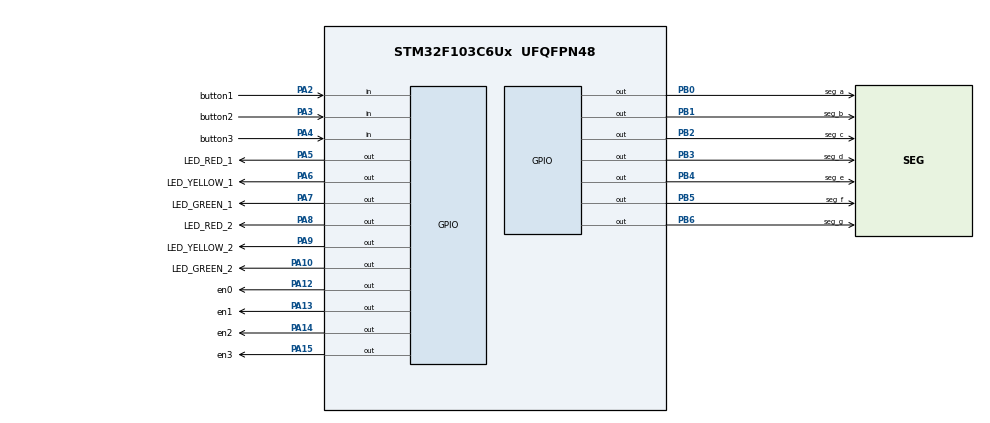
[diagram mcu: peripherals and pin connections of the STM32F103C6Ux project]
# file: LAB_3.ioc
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Mcu.Family=STM32F1
Mcu.Name=STM32F103C6Ux
Mcu.Package=UFQFPN48
NVIC.PriorityGroup=NVIC_PRIORITYGROUP_4
NVIC.TIM2_IRQn=true\:0\:0\:false\:false\:true\:true\:true\:true
PA10.GPIO_Label=LED_GREEN_2
PA10.Signal=GPIO_Output
PA12.GPIO_Label=en0
PA12.Signal=GPIO_Output
PA13.GPIO_Label=en1
PA13.Signal=GPIO_Output
PA14.GPIO_Label=en2
PA14.Signal=GPIO_Output
PA15.GPIO_Label=en3
PA15.Signal=GPIO_Output
PA2.GPIO_Label=button1
PA2.GPIO_PuPd=GPIO_PULLUP
PA2.Signal=GPIO_Input
PA3.GPIO_Label=button2
PA3.GPIO_PuPd=GPIO_PULLUP
PA3.Signal=GPIO_Input
PA4.GPIO_Label=button3
PA4.GPIO_PuPd=GPIO_PULLUP
PA4.Signal=GPIO_Input
PA5.GPIO_Label=LED_RED_1
PA5.Signal=GPIO_Output
PA6.GPIO_Label=LED_YELLOW_1
PA6.Signal=GPIO_Output
PA7.GPIO_Label=LED_GREEN_1
PA7.Signal=GPIO_Output
PA8.GPIO_Label=LED_RED_2
PA8.Signal=GPIO_Output
PA9.GPIO_Label=LED_YELLOW_2
PA9.Signal=GPIO_Output
PB0.GPIO_Label=seg_a
PB0.Signal=GPIO_Output
PB1.GPIO_Label=seg_b
PB1.Signal=GPIO_Output
PB2.GPIO_Label=seg_c
PB2.Signal=GPIO_Output
PB3.GPIO_Label=seg_d
PB3.Signal=GPIO_Output
PB4.GPIO_Label=seg_e
PB4.Signal=GPIO_Output
PB5.GPIO_Label=seg_f
PB5.Signal=GPIO_Output
PB6.GPIO_Label=seg_g
PB6.Signal=GPIO_Output
ProjectManager.HeapSize=0x200
ProjectManager.StackSize=0x400
ProjectManager.TargetToolchain=STM32CubeIDE
RCC.APB1Freq_Value=8000000
RCC.APB2Freq_Value=8000000
TIM2.Period=9
TIM2.Prescaler=7999
VP_SYS_VS_ND.Mode=No_Debug
VP_TIM2_VS_ClockSourceINT.Mode=Internal
board=custom

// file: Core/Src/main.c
/* USER CODE BEGIN Header */
/**
  ******************************************************************************
  * @file           : main.c
  * @course			: MPU - MCU
  * @lab number		: 3
  * @exercises		: 1 to 10
  * @brief          : Traffic light with 4 modes - FSM
  ******************************************************************************
  * @attention
  *
  * Copyright (c) 2025 STMicroelectronics.
  * All rights reserved.
  *
  * This software is licensed under terms that can be found in the LICENSE file
  * in the root directory of this software component.
  * If no LICENSE file comes with this software, it is provided AS-IS.
  *
  ******************************************************************************
  */
/* USER CODE END Header */
#include "main.h"

/* USER CODE BEGIN Includes */
#include "timer.h"
#include "button.h"
#include "global.h"
#include "fsm.h"

/* USER CODE END Includes */

TIM_HandleTypeDef htim2;

void SystemClock_Config(void);
static void MX_GPIO_Init(void);
static void MX_TIM2_Init(void);

int main(void)
{

  /* MCU Configuration--------------------------------------------------------*/

  /* Reset of all peripherals, Initializes the Flash interface and the Systick. */
  HAL_Init();

  /* Configure the system clock */
  SystemClock_Config();

  /* Initialize all configured peripherals */
  MX_GPIO_Init();
  MX_TIM2_Init();
  /* USER CODE BEGIN 2 */
  HAL_TIM_Base_Start_IT(&htim2);

  state = INIT;

  HAL_GPIO_WritePin(en0_GPIO_Port, en0_Pin, 1);
  HAL_GPIO_WritePin(en1_GPIO_Port, en1_Pin, 1);
  HAL_GPIO_WritePin(en2_GPIO_Port, en2_Pin, 1);
  HAL_GPIO_WritePin(en3_GPIO_Port, en3_Pin, 1);

  setTimer1(100);
  setTimer2(100);
  setTimer3(100);
  /* USER CODE END 2 */

  /* Infinite loop */
  /* USER CODE BEGIN WHILE */

  while (1)
  {
	  fsmRun();

    /* USER CODE END WHILE */

  }
}

void SystemClock_Config(void)
{
  RCC_OscInitTypeDef RCC_OscInitStruct = {0};
  RCC_ClkInitTypeDef RCC_ClkInitStruct = {0};

  /** Initializes the RCC Oscillators according to the specified parameters
  * in the RCC_OscInitTypeDef structure.
  */
  RCC_OscInitStruct.OscillatorType = RCC_OSCILLATORTYPE_HSI;
  RCC_OscInitStruct.HSIState = RCC_HSI_ON;
  RCC_OscInitStruct.HSICalibrationValue = RCC_HSICALIBRATION_DEFAULT;
  RCC_OscInitStruct.PLL.PLLState = RCC_PLL_NONE;
  if (HAL_RCC_OscConfig(&RCC_OscInitStruct) != HAL_OK)
  {
    Error_Handler();
  }

  /** Initializes the CPU, AHB and APB buses clocks
  */
  RCC_ClkInitStruct.ClockType = RCC_CLOCKTYPE_HCLK|RCC_CLOCKTYPE_SYSCLK
                              |RCC_CLOCKTYPE_PCLK1|RCC_CLOCKTYPE_PCLK2;
  RCC_ClkInitStruct.SYSCLKSource = RCC_SYSCLKSOURCE_HSI;
  RCC_ClkInitStruct.AHBCLKDivider = RCC_SYSCLK_DIV1;
  RCC_ClkInitStruct.APB1CLKDivider = RCC_HCLK_DIV1;
  RCC_ClkInitStruct.APB2CLKDivider = RCC_HCLK_DIV1;

  if (HAL_RCC_ClockConfig(&RCC_ClkInitStruct, FLASH_LATENCY_0) != HAL_OK)
  {
    Error_Handler();
  }
}

static void MX_TIM2_Init(void)
{

  TIM_ClockConfigTypeDef sClockSourceConfig = {0};
  TIM_MasterConfigTypeDef sMasterConfig = {0};

  htim2.Instance = TIM2;
  htim2.Init.Prescaler = 7999;
  htim2.Init.CounterMode = TIM_COUNTERMODE_UP;
  htim2.Init.Period = 9;
  htim2.Init.ClockDivision = TIM_CLOCKDIVISION_DIV1;
  htim2.Init.AutoReloadPreload = TIM_AUTORELOAD_PRELOAD_DISABLE;
  if (HAL_TIM_Base_Init(&htim2) != HAL_OK)
  {
    Error_Handler();
  }
  sClockSourceConfig.ClockSource = TIM_CLOCKSOURCE_INTERNAL;
  if (HAL_TIM_ConfigClockSource(&htim2, &sClockSourceConfig) != HAL_OK)
  {
    Error_Handler();
  }
  sMasterConfig.MasterOutputTrigger = TIM_TRGO_RESET;
  sMasterConfig.MasterSlaveMode = TIM_MASTERSLAVEMODE_DISABLE;
  if (HAL_TIMEx_MasterConfigSynchronization(&htim2, &sMasterConfig) != HAL_OK)
  {
    Error_Handler();
  }

}

static void MX_GPIO_Init(void)
{
  GPIO_InitTypeDef GPIO_InitStruct = {0};

  /* GPIO Ports Clock Enable */
  __HAL_RCC_GPIOA_CLK_ENABLE();
  __HAL_RCC_GPIOB_CLK_ENABLE();

  /*Configure GPIO pin Output Level */
  HAL_GPIO_WritePin(GPIOA, LED_RED_1_Pin|LED_YELLOW_1_Pin|LED_GREEN_1_Pin|LED_RED_2_Pin
                          |LED_YELLOW_2_Pin|LED_GREEN_2_Pin|en0_Pin|en1_Pin
                          |en2_Pin|en3_Pin, GPIO_PIN_RESET);

  /*Configure GPIO pin Output Level */
  HAL_GPIO_WritePin(GPIOB, seg_a_Pin|seg_b_Pin|seg_c_Pin|seg_d_Pin
                          |seg_e_Pin|seg_f_Pin|seg_g_Pin, GPIO_PIN_RESET);

  /*Configure GPIO pins : button1_Pin button2_Pin button3_Pin */
  GPIO_InitStruct.Pin = button1_Pin|button2_Pin|button3_Pin;
  GPIO_InitStruct.Mode = GPIO_MODE_INPUT;
  GPIO_InitStruct.Pull = GPIO_PULLUP;
  HAL_GPIO_Init(GPIOA, &GPIO_InitStruct);

  /*Configure GPIO pins : LED_RED_1_Pin LED_YELLOW_1_Pin LED_GREEN_1_Pin LED_RED_2_Pin
                           LED_YELLOW_2_Pin LED_GREEN_2_Pin en0_Pin en1_Pin
                           en2_Pin en3_Pin */
  GPIO_InitStruct.Pin = LED_RED_1_Pin|LED_YELLOW_1_Pin|LED_GREEN_1_Pin|LED_RED_2_Pin
                          |LED_YELLOW_2_Pin|LED_GREEN_2_Pin|en0_Pin|en1_Pin
                          |en2_Pin|en3_Pin;
  GPIO_InitStruct.Mode = GPIO_MODE_OUTPUT_PP;
  GPIO_InitStruct.Pull = GPIO_NOPULL;
  GPIO_InitStruct.Speed = GPIO_SPEED_FREQ_LOW;
  HAL_GPIO_Init(GPIOA, &GPIO_InitStruct);

  /*Configure GPIO pins : seg_a_Pin seg_b_Pin seg_c_Pin seg_d_Pin
                           seg_e_Pin seg_f_Pin seg_g_Pin */
  GPIO_InitStruct.Pin = seg_a_Pin|seg_b_Pin|seg_c_Pin|seg_d_Pin
                          |seg_e_Pin|seg_f_Pin|seg_g_Pin;
  GPIO_InitStruct.Mode = GPIO_MODE_OUTPUT_PP;
  GPIO_InitStruct.Pull = GPIO_NOPULL;
  GPIO_InitStruct.Speed = GPIO_SPEED_FREQ_LOW;
  HAL_GPIO_Init(GPIOB, &GPIO_InitStruct);

}

/* USER CODE BEGIN 4 */
void HAL_TIM_PeriodElapsedCallback(TIM_HandleTypeDef *htim) {
	timerRun();
	readButton1();
	readButton2();
	readButton3();
}
/* USER CODE END 4 */

void Error_Handler(void)
{
  __disable_irq();
  while (1)
  {
  }
}
